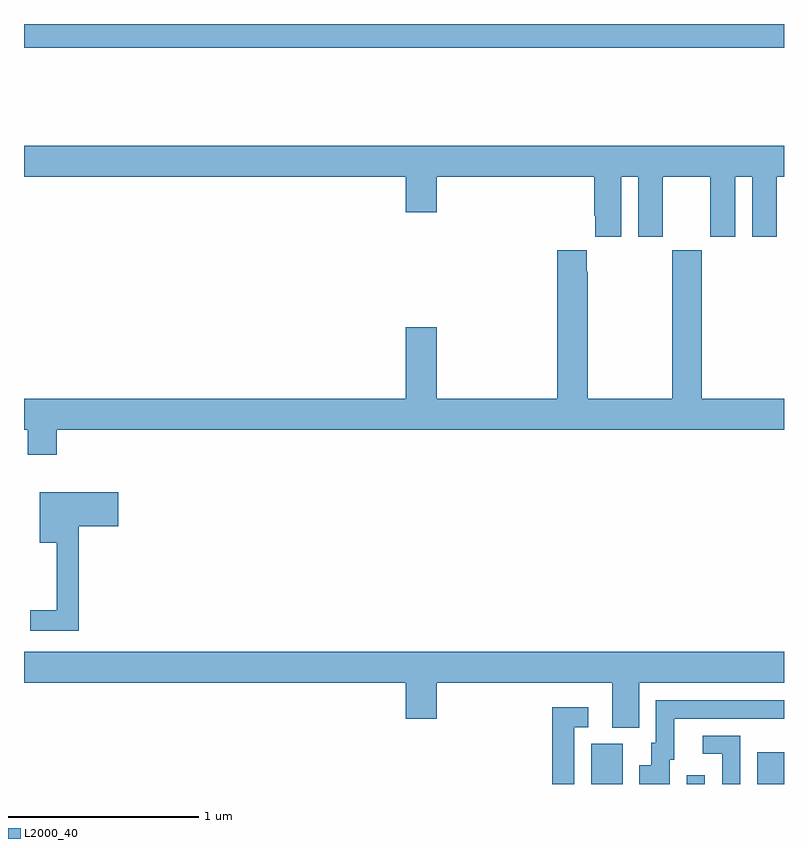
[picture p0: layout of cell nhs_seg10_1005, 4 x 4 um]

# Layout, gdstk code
import gdstk
lib = gdstk.Library(unit=1e-6, precision=1e-09)
def R(c, l, rs):  # rectangles x0, y0, x1, y1
    for r in rs: c.add(gdstk.rectangle(r[:2], r[2:], *l))
def P(c, l, *ps):  # polygons
    for p in ps: c.add(gdstk.Polygon(p, *l))
L2000_40 = (2000, 40)

nhs_seg10_1005 = lib.new_cell('nhs_seg10_1005')
R(nhs_seg10_1005, L2000_40, [(165.986,1250.5,166.15,1250.712), (166.488,1250.5,166.584,1250.545), (166.859,1250.5,167,1250.668), (163,1254.376,167,1254.5)])
P(nhs_seg10_1005, L2000_40, [(166.144,1253.696),(166.232,1253.696),(166.232,1253.379),(166.363,1253.379),(166.363,1253.696),(166.613,1253.696),(166.613,1253.379),(166.744,1253.379),(166.744,1253.696),(166.832,1253.696),(166.832,1253.379),(166.963,1253.379),(166.963,1253.696),(167,1253.696),(167,1253.86),(163,1253.86),(163,1253.696),(165.008,1253.696),(165.008,1253.508),(165.172,1253.508),(165.172,1253.696),(166.001,1253.696),(166.001,1253.491),(166.007,1253.491),(166.007,1253.379),(166.144,1253.379)],
  [(163.172,1252.364),(167,1252.364),(167,1252.528),(166.566,1252.528),(166.566,1253.308),(166.411,1253.308),(166.411,1252.528),(165.966,1252.528),(165.966,1253.195),(165.961,1253.195),(165.961,1253.308),(165.806,1253.308),(165.806,1252.528),(165.172,1252.528),(165.172,1252.903),(165.008,1252.903),(165.008,1252.528),(163,1252.528),(163,1252.364),(163.02,1252.364),(163.02,1252.233),(163.172,1252.233)],
  [(163.289,1251.857),(163.495,1251.857),(163.495,1252.035),(163.082,1252.035),(163.082,1251.77),(163.172,1251.77),(163.172,1251.415),(163.032,1251.415),(163.032,1251.306),(163.289,1251.306)],
  [(166.237,1251.032),(167,1251.032),(167,1251.196),(163,1251.196),(163,1251.032),(165.008,1251.032),(165.008,1250.844),(165.172,1250.844),(165.172,1251.032),(166.097,1251.032),(166.097,1250.797),(166.237,1250.797)],
  [(166.399,1250.628),(166.423,1250.628),(166.423,1250.844),(167,1250.844),(167,1250.94),(166.326,1250.94),(166.326,1250.718),(166.301,1250.718),(166.301,1250.599),(166.238,1250.599),(166.238,1250.5),(166.399,1250.5)],
  [(165.897,1250.799),(165.97,1250.799),(165.97,1250.905),(165.781,1250.905),(165.781,1250.5),(165.897,1250.5)],
  [(166.77,1250.754),(166.572,1250.754),(166.572,1250.658),(166.674,1250.658),(166.674,1250.5),(166.77,1250.5)])

lib.write_gds('nhs_seg10_1005.gds')
